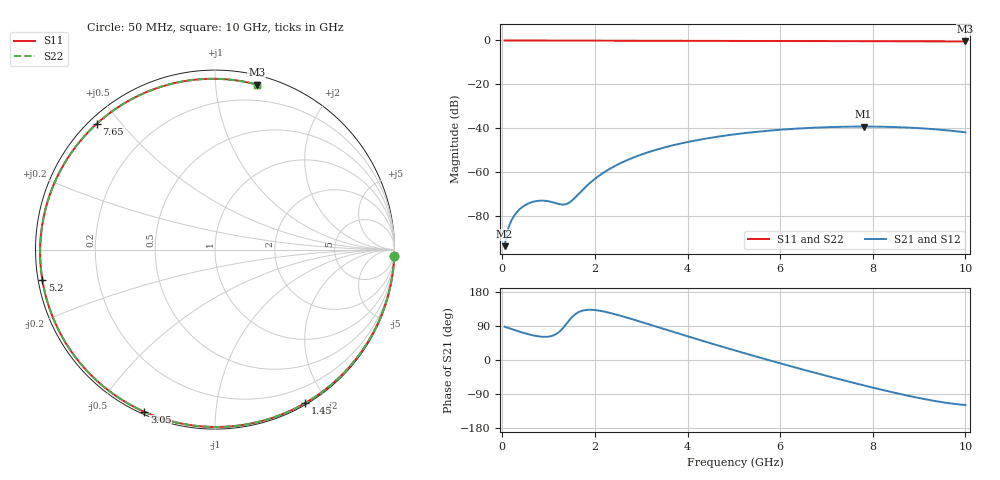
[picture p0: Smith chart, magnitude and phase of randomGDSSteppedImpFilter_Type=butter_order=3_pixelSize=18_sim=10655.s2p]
! freq	dB(S11)	phase(S11)	dB(S12)	phase(S12)
!  dB(S21)	phase(S21)	dB(S22)	phase(S22)
!S-par simulation data
#  GHz  S  DB  R 50
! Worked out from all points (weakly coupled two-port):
!   200 points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, 50 MHz to 10 GHz, reference 50 ohm
!   highest |S21| = -39.26 dB at 7.8 GHz (marker M1); lowest = -93.8 dB at 50 MHz (marker M2)
!   lowest |S11| = -0.5 dB at 10 GHz (marker M3), VSWR 37.98, Z = 3.48 + j64.1 ohm
!   |S11| at or under -10 dB: nowhere
!   |S22| runs from -0.5 to 0.0 dB; largest |S21 - S12| = 0
!   S11 on the Smith chart (normalised r, x): 50 MHz: 0, -53; 1.45 GHz: 0.02, -1.75; 3.05 GHz: 0.01, -0.65; 5.2 GHz: 0.01, -0.09; 7.65 GHz: 0.02, +0.43; 10 GHz: 0.07, +1.28
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0.05  -0.00 -2.2  -93.79 87.9  -93.79 87.9  -0.00 -2.2
0.25  -0.01 -10.7  -80.10 79.6  -80.10 79.6  -0.02 -10.7
0.45  -0.02 -19.1  -75.69 71.9  -75.69 71.9  -0.03 -19.1
0.7  -0.04 -29.6  -73.37 64.1  -73.37 64.1  -0.04 -29.6
0.95  -0.05 -39.8  -73.16 61.2  -73.16 61.2  -0.05 -39.8
1.3  -0.07 -53.7  -74.84 82.8  -74.84 82.8  -0.07 -53.7
1.45  -0.07 -59.5  -73.88 105.5  -73.88 105.5  -0.07 -59.5
1.75  -0.08 -70.6  -67.76 130.8  -67.76 130.8  -0.08 -70.6
2  -0.09 -79.6  -63.09 131.8  -63.09 131.8  -0.09 -79.6
2.3  -0.10 -89.9  -58.79 125.0  -58.79 125.0  -0.10 -89.9
3.05  -0.13 -113.6  -51.67 98.6  -51.67 98.6  -0.13 -113.6
3.4  -0.14 -123.8  -49.37 85.3  -49.37 85.3  -0.14 -123.8
4.2  -0.16 -145.4  -45.48 55.1  -45.48 55.1  -0.16 -145.4
5.05  -0.20 -166.5  -42.72 24.3  -42.72 24.3  -0.20 -166.5
5.2  -0.21 -170.1  -42.33 19.0  -42.33 19.0  -0.21 -170.1
5.95  -0.24 172.4  -40.80 -7.0  -40.80 -7.0  -0.24 172.4
6.7  -0.28 155.1  -39.81 -32.1  -39.81 -32.1  -0.28 155.1
7.65  -0.34 133.2  -39.27 -62.3  -39.27 -62.3  -0.34 133.2
7.8  -0.34 129.7  -39.26 -66.8  -39.26 -66.8  -0.34 129.7
8.35  -0.37 116.7  -39.41 -83.0  -39.41 -83.0  -0.37 116.6
9.2  -0.42 95.9  -40.27 -105.1  -40.27 -105.1  -0.42 95.9
10  -0.46 75.8  -41.87 -118.6  -41.87 -118.6  -0.46 75.8
